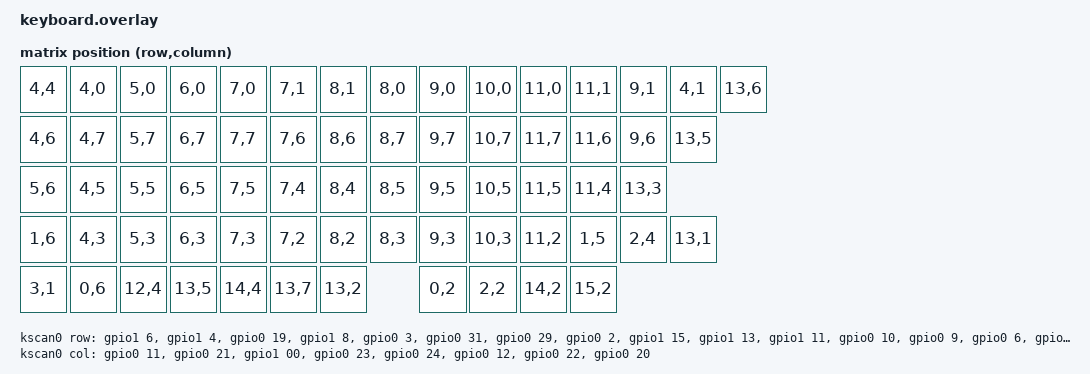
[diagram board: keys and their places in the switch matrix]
#include <dt-bindings/zmk/matrix_transform.h>
#include "keyboard.dtsi"
/ {
    chosen {
        zmk,kscan = &kscan0;
        zmk,physical-layout = &physical_layout0;
    };

    default_transform: keymap_transform_0 {
        compatible = "zmk,matrix-transform";
        columns = <8>;
        rows = <16>;

        map = <
            RC(4,4) RC(4,0) RC(5,0) RC(6,0) RC(7,0) RC(7,1) RC(8,1) RC(8,0) RC(9,0) RC(10,0) RC(11,0) RC(11,1) RC(9,1) RC(4,1) RC(13,6)
            RC(4,6) RC(4,7) RC(5,7) RC(6,7) RC(7,7) RC(7,6) RC(8,6) RC(8,7) RC(9,7) RC(10,7) RC(11,7) RC(11,6) RC(9,6) RC(13,5)
            RC(5,6) RC(4,5) RC(5,5) RC(6,5) RC(7,5) RC(7,4) RC(8,4) RC(8,5) RC(9,5) RC(10,5) RC(11,5) RC(11,4) RC(13,3)
            RC(1,6) RC(4,3) RC(5,3) RC(6,3) RC(7,3) RC(7,2) RC(8,2) RC(8,3) RC(9,3) RC(10,3) RC(11,2) RC(1,5) RC(2,4) RC(13,1)
            RC(3,1) RC(0,6) RC(12,4) RC(13,5) RC(14,4) RC(13,7) RC(13,2) RC(0,2) RC(2,2) RC(14,2) RC(15,2)
        >;
    };

    kscan0: kscan {
        compatible = "zmk,kscan-gpio-matrix";
        label = "KSCAN";
        diode-direction = "col2row";
        wakeup-source;
        row-gpios
            = <&gpio1 6 (GPIO_ACTIVE_HIGH | GPIO_PULL_DOWN)>
          , <&gpio1 4 (GPIO_ACTIVE_HIGH | GPIO_PULL_DOWN)>
          , <&gpio0 19 (GPIO_ACTIVE_HIGH | GPIO_PULL_DOWN)>
          , <&gpio1 8 (GPIO_ACTIVE_HIGH | GPIO_PULL_DOWN)>
          , <&gpio0 3 (GPIO_ACTIVE_HIGH | GPIO_PULL_DOWN)>
          , <&gpio0 31 (GPIO_ACTIVE_HIGH | GPIO_PULL_DOWN)>
          , <&gpio0 29 (GPIO_ACTIVE_HIGH | GPIO_PULL_DOWN)>
          , <&gpio0 2 (GPIO_ACTIVE_HIGH | GPIO_PULL_DOWN)>
          , <&gpio1 15 (GPIO_ACTIVE_HIGH | GPIO_PULL_DOWN)>
          , <&gpio1 13 (GPIO_ACTIVE_HIGH | GPIO_PULL_DOWN)>
          , <&gpio1 11 (GPIO_ACTIVE_HIGH | GPIO_PULL_DOWN)>
          , <&gpio0 10 (GPIO_ACTIVE_HIGH | GPIO_PULL_DOWN)>
          , <&gpio0 9 (GPIO_ACTIVE_HIGH | GPIO_PULL_DOWN)>
          , <&gpio0 6 (GPIO_ACTIVE_HIGH | GPIO_PULL_DOWN)>
          , <&gpio0 8 (GPIO_ACTIVE_HIGH | GPIO_PULL_DOWN)>
          , <&gpio0 17 (GPIO_ACTIVE_HIGH | GPIO_PULL_DOWN)>
            ;
        col-gpios
            = <&gpio0 11 GPIO_ACTIVE_HIGH>
          , <&gpio0 21 GPIO_ACTIVE_HIGH>
          , <&gpio1 00 GPIO_ACTIVE_HIGH>
          , <&gpio0 23 GPIO_ACTIVE_HIGH>
          , <&gpio0 24 GPIO_ACTIVE_HIGH>
          , <&gpio0 12 GPIO_ACTIVE_HIGH>
          , <&gpio0 22 GPIO_ACTIVE_HIGH>
          , <&gpio0 20 GPIO_ACTIVE_HIGH>
            ;
    };
};
